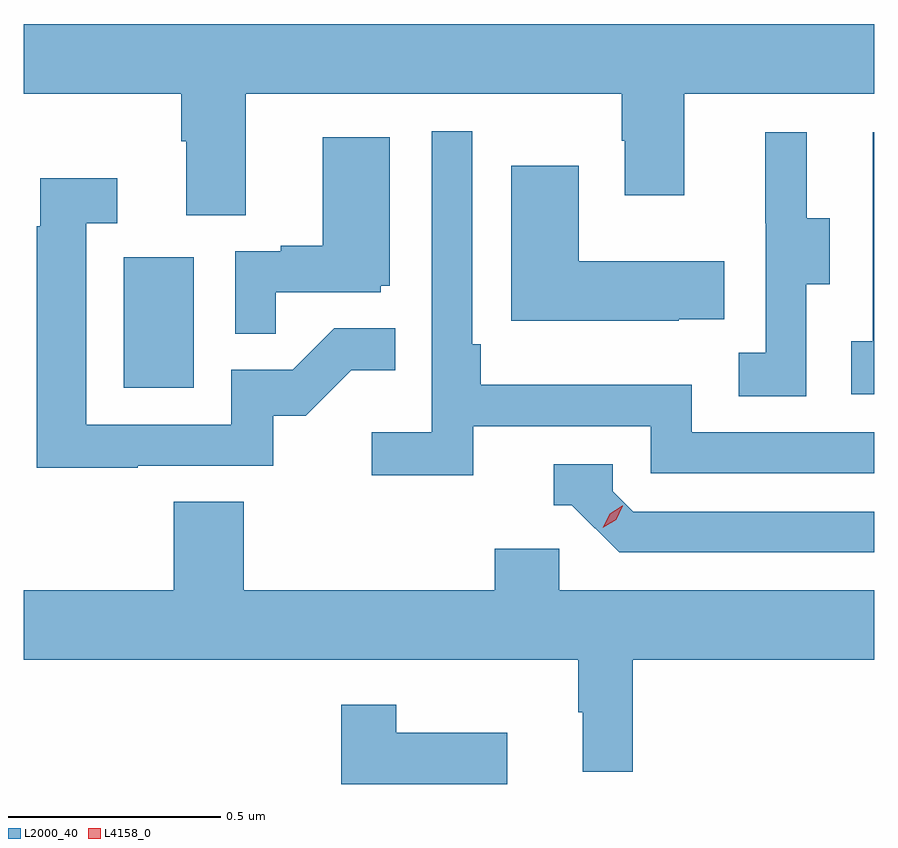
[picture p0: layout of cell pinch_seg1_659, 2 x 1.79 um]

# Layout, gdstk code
import gdstk
lib = gdstk.Library(unit=1e-6, precision=1e-09)
def R(c, l, rs):  # rectangles x0, y0, x1, y1
    for r in rs: c.add(gdstk.rectangle(r[:2], r[2:], *l))
def P(c, l, *ps):  # polygons
    for p in ps: c.add(gdstk.Polygon(p, *l))
L2000_40 = (2000, 40)
L4158_0 = (4158, 0)

pinch_seg1_659 = lib.new_cell('pinch_seg1_659')
R(pinch_seg1_659, L2000_40, [(1100.828,517.74,1100.992,518.047)])
P(pinch_seg1_659, L2000_40, [(1101.115,518.432),(1102,518.432),(1102,518.321),(1102.007,518.321),(1102.007,518.193),(1102.147,518.193),(1102.147,518.432),(1102.593,518.432),(1102.593,518.596),(1100.593,518.596),(1100.593,518.432),(1100.963,518.432),(1100.963,518.32),(1100.975,518.32),(1100.975,518.146),(1101.115,518.146)],
  [(1101.65,517.65),(1102.068,517.65),(1102.068,517.539),(1102.593,517.539),(1102.593,517.635),(1102.164,517.635),(1102.164,517.747),(1101.668,517.747),(1101.668,517.843),(1101.648,517.843),(1101.648,518.344),(1101.552,518.344),(1101.552,517.636),(1101.411,517.636),(1101.411,517.534),(1101.65,517.534)],
  [(1102.434,517.984),(1102.489,517.984),(1102.489,518.139),(1102.435,518.139),(1102.435,518.341),(1102.337,518.341),(1102.337,518.127),(1102.338,518.127),(1102.338,517.823),(1102.275,517.823),(1102.275,517.72),(1102.434,517.72)],
  [(1102.593,518.341),(1102.59,518.341),(1102.59,517.85),(1102.539,517.85),(1102.539,517.725),(1102.593,517.725)],
  [(1101.185,517.965),(1101.432,517.965),(1101.432,517.98),(1101.454,517.98),(1101.454,518.329),(1101.296,518.329),(1101.296,518.074),(1101.197,518.074),(1101.197,518.061),(1101.09,518.061),(1101.09,517.867),(1101.185,517.867)],
  [(1102.133,517.901),(1102.241,517.901),(1102.241,518.038),(1101.898,518.038),(1101.898,518.263),(1101.74,518.263),(1101.74,517.898),(1102.133,517.898)],
  [(1100.861,517.557),(1101.18,517.557),(1101.18,517.674),(1101.256,517.674),(1101.363,517.781),(1101.467,517.781),(1101.467,517.88),(1101.323,517.88),(1101.225,517.782),(1101.081,517.782),(1101.081,517.653),(1100.739,517.653),(1100.739,518.127),(1100.812,518.127),(1100.812,518.233),(1100.631,518.233),(1100.631,518.12),(1100.623,518.12),(1100.623,517.552),(1100.861,517.552)],
  [(1102.593,517.449),(1102.026,517.449),(1101.978,517.497),(1101.978,517.56),(1101.839,517.56),(1101.839,517.464),(1101.882,517.464),(1101.993,517.353),(1102.593,517.353)],
  [(1102.025,517.1),(1102.593,517.1),(1102.593,517.264),(1101.852,517.264),(1101.852,517.362),(1101.701,517.362),(1101.701,517.264),(1101.11,517.264),(1101.11,517.472),(1100.945,517.472),(1100.945,517.264),(1100.593,517.264),(1100.593,517.1),(1101.897,517.1),(1101.897,516.977),(1101.908,516.977),(1101.908,516.837),(1102.025,516.837)],
  [(1101.73,516.928),(1101.469,516.928),(1101.469,516.994),(1101.34,516.994),(1101.34,516.808),(1101.73,516.808)])
P(pinch_seg1_659, L4158_0, [(1101.955,517.411),(1101.955,517.411),(1101.971,517.444),(1102.001,517.463),(1102.002,517.463),(1102.002,517.463),(1101.986,517.43),(1101.955,517.411)])

lib.write_gds('pinch_seg1_659.gds')
